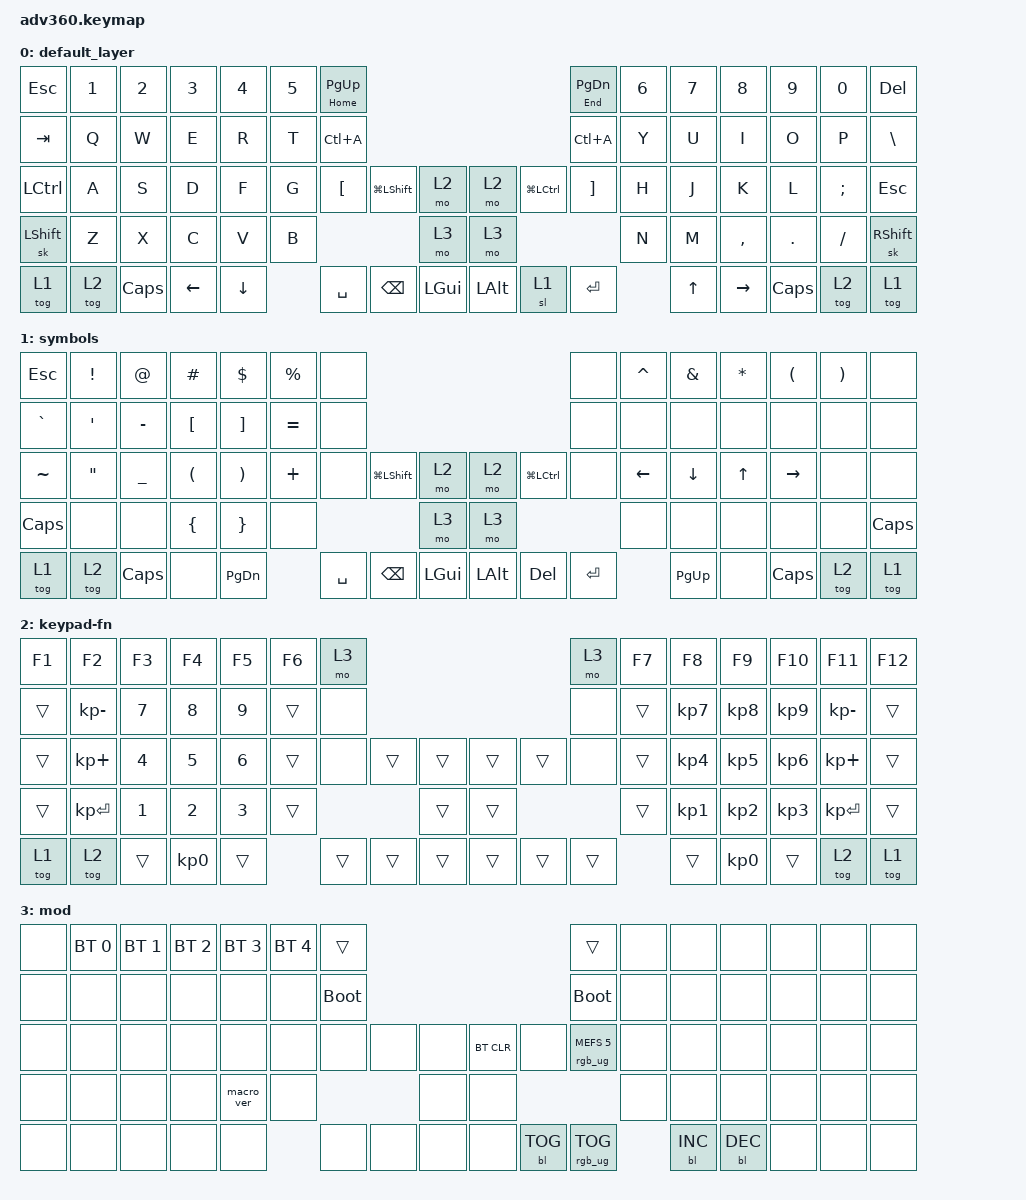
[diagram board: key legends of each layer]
#include <behaviors.dtsi>
#include <dt-bindings/zmk/backlight.h>
#include <dt-bindings/zmk/bt.h>
#include <dt-bindings/zmk/keys.h>
#include <dt-bindings/zmk/rgb.h>

/ {
    behaviors {
        #include "macros.dtsi"
      #include "version.dtsi"
      #ifndef VERSION_MACRO

        macro_ver: macro_ver {
            compatible = "zmk,behavior-macro";
            label = "macro_version";
            #binding-cells = <0>;
            bindings = <&kp RET>;
        };

        #endif

        hml: homerow_mods_left {
            compatible = "zmk,behavior-hold-tap";
            label = "HOMEROW_MODS_LEFT";
            #binding-cells = <2>;
            tapping-term-ms = <280>;
            quick_tap_ms = <175>;
            flavor = "balanced";
            bindings = <&kp>, <&kp>;

            require-prior-idle-ms = <150>;
            quick-tap-ms = <175>;
            hold-trigger-on-release;
            hold-trigger-key-positions = <68 53 37 38 69 70 39 21 7 8 22 40 71 55 41 9 10 11 12 13 23 24 25 26 27 41 42 43 44 45 55 56 57 58 59 71 72 73 74 75 54>;
        };

        hmr: homerow_mods_right {
            compatible = "zmk,behavior-hold-tap";
            label = "HOMEROW_MODS_RIGHT";
            #binding-cells = <2>;
            tapping-term-ms = <280>;
            quick_tap_ms = <175>;
            flavor = "balanced";
            bindings = <&kp>, <&kp>;

            require-prior-idle-ms = <150>;
            quick-tap-ms = <175>;
            hold-trigger-on-release;
            hold-trigger-key-positions = <0 1 2 3 4 5 6 14 15 16 17 18 19 20 28 29 30 31 32 33 34 35 36 46 47 48 49 50 51 52 60 61 62 63 64 65 66 67>;
        };
    };

    macros {
    };

    keymap {
        compatible = "zmk,keymap";

        default_layer {
            bindings = <
&kp ESCAPE      &kp N1  &kp N2    &kp N3    &kp N4    &kp N5  &mt HOME PAGE_UP                                                                     &mt END PAGE_DOWN  &kp N6  &kp N7  &kp N8     &kp N9    &kp N0    &kp DELETE
&kp TAB         &kp Q   &kp W     &kp E     &kp R     &kp T   &kp LC(A)                                                                            &kp LC(A)          &kp Y   &kp U   &kp I      &kp O     &kp P     &kp BSLH
&kp LCTRL       &kp A   &kp S     &kp D     &kp F     &kp G   &kp LEFT_BRACKET  &kp LG(LEFT_SHIFT)  &mo 2             &mo 2         &kp LG(LCTRL)  &kp RIGHT_BRACKET  &kp H   &kp J   &kp K      &kp L     &kp SEMI  &kp ESC
&sk LEFT_SHIFT  &kp Z   &kp X     &kp C     &kp V     &kp B                                         &mo 3             &mo 3                                           &kp N   &kp M   &kp COMMA  &kp DOT   &kp FSLH  &sk RIGHT_SHIFT
&tog 1          &tog 2  &kp CAPS  &kp LEFT  &kp DOWN          &kp SPACE         &kp BACKSPACE       &kp LEFT_GUI      &kp LEFT_ALT  &sl 1          &kp ENTER                  &kp UP  &kp RIGHT  &kp CAPS  &tog 2    &tog 1
            >;
        };

        symbols {
            bindings = <
&kp ESCAPE  &kp EXCLAMATION    &kp AT_SIGN     &kp POUND             &kp DOLLAR             &kp PERCENT  &none                                                                         &none      &kp CARET  &kp AMPERSAND  &kp ASTERISK  &kp LEFT_PARENTHESIS  &kp RIGHT_PARENTHESIS  &none
&kp GRAVE   &kp SINGLE_QUOTE   &kp MINUS       &kp LEFT_BRACKET      &kp RIGHT_BRACKET      &kp EQUAL    &none                                                                         &none      &none      &none          &none         &none                 &none                  &none
&kp TILDE   &kp DOUBLE_QUOTES  &kp UNDERSCORE  &kp LEFT_PARENTHESIS  &kp RIGHT_PARENTHESIS  &kp PLUS     &none      &kp LG(LEFT_SHIFT)  &mo 2             &mo 2         &kp LG(LCTRL)  &none      &kp LEFT   &kp DOWN       &kp UP_ARROW  &kp RIGHT             &none                  &none
&kp CLCK    &none              &none           &kp LEFT_BRACE        &kp RIGHT_BRACE        &none                                       &mo 3             &mo 3                                   &none      &none          &none         &none                 &none                  &kp CAPS
&tog 1      &tog 2             &kp CAPS        &none                 &kp PAGE_DOWN                       &kp SPACE  &kp BACKSPACE       &kp LEFT_GUI      &kp LEFT_ALT  &kp DEL        &kp ENTER             &kp PAGE_UP    &none         &kp CAPS              &tog 2                 &tog 1
            >;
        };

        keypad-fn {
            bindings = <
&kp F1  &kp F2        &kp F3  &kp F4           &kp F5  &kp F6  &mo 3                                       &mo 3   &kp F7  &kp F8     &kp F9           &kp F10    &kp F11       &kp F12
&trans  &kp KP_MINUS  &kp N7  &kp N8           &kp N9  &trans  &none                                       &none   &trans  &kp KP_N7  &kp KP_N8        &kp KP_N9  &kp KP_MINUS  &trans
&trans  &kp KP_PLUS   &kp N4  &kp N5           &kp N6  &trans  &none   &trans  &trans      &trans  &trans  &none   &trans  &kp KP_N4  &kp KP_N5        &kp KP_N6  &kp KP_PLUS   &trans
&trans  &kp KP_ENTER  &kp N1  &kp N2           &kp N3  &trans                  &trans      &trans                  &trans  &kp KP_N1  &kp KP_N2        &kp KP_N3  &kp KP_ENTER  &trans
&tog 1  &tog 2        &trans  &kp KP_NUMBER_0  &trans          &trans  &trans  &trans      &trans  &trans  &trans          &trans     &kp KP_NUMBER_0  &trans     &tog 2        &tog 1
            >;
        };

        mod {
            bindings = <
&none  &bt BT_SEL 0  &bt BT_SEL 1  &bt BT_SEL 2  &bt BT_SEL 3  &bt BT_SEL 4  &trans                                                 &trans                  &none  &none       &none       &none  &none  &none
&none  &none         &none         &none         &none         &none         &bootloader                                            &bootloader             &none  &none       &none       &none  &none  &none
&none  &none         &none         &none         &none         &none         &none        &none  &none      &bt BT_CLR  &none       &rgb_ug RGB_MEFS_CMD 5  &none  &none       &none       &none  &none  &none
&none  &none         &none         &none         &macro_ver    &none                             &none      &none                                           &none  &none       &none       &none  &none  &none
&none  &none         &none         &none         &none                       &none        &none  &none      &none       &bl BL_TOG  &rgb_ug RGB_TOG                &bl BL_INC  &bl BL_DEC  &none  &none  &none
            >;
        };
    };
};
